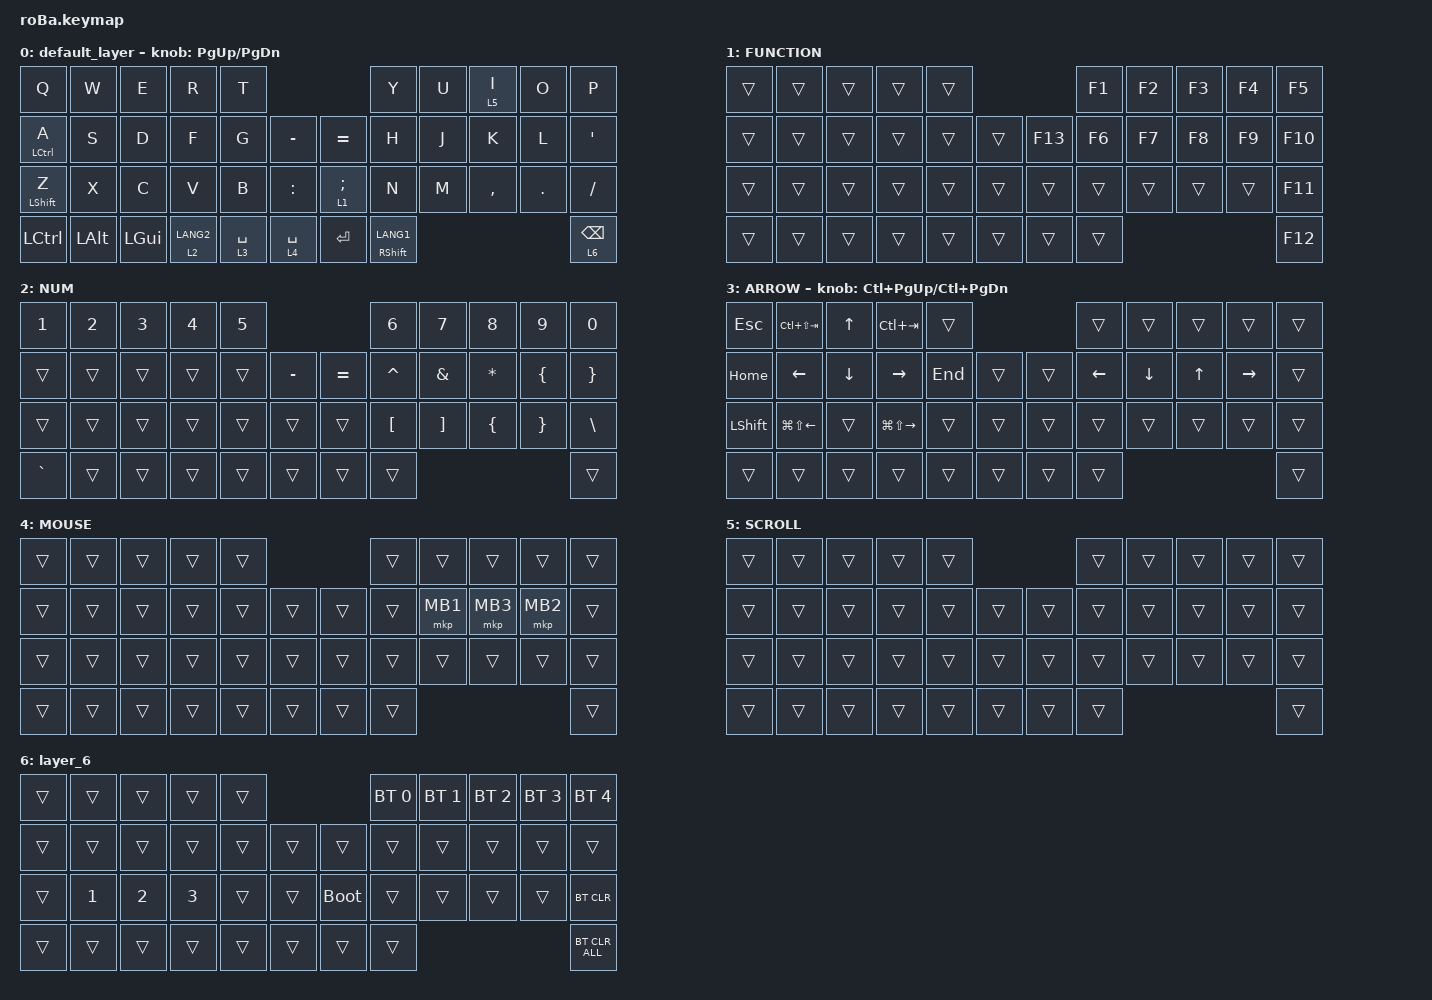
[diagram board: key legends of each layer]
#include <behaviors.dtsi>
#include <dt-bindings/zmk/bt.h>
#include <dt-bindings/zmk/keys.h>
#include <dt-bindings/zmk/pointing.h>

&mt {
    flavor = "balanced";
    tapping-term-ms = <200>;
    quick-tap-ms = <175>;
    require-prior-idle-ms = <125>;
};

&trackball {
    // automouse-layer = <4>;

    scroll-layers = <5>;

    // arrows {
    //     layers = <3>;
    //     bindings =
    //         <&kp RIGHT_ARROW>,
    //         <&kp LEFT_ARROW>,
    //         <&kp UP_ARROW>,
    //         <&kp DOWN_ARROW>;
    //     tick = <10>;
    //     wait-ms = <5>;
    //     tap-ms = <5>;
    // };
};

/ {
    combos {
        compatible = "zmk,combos";

        tab {
            bindings = <&kp TAB>;
            key-positions = <11 10>;
        };

        double_quotation {
            bindings = <&kp DOUBLE_QUOTES>;
            key-positions = <20 21>;
        };

        eesscc {
            bindings = <&kp ESC>;
            key-positions = <1 0>;
        };

        backspase {
            bindings = <&kp BACKSPACE>;
            key-positions = <8 9>;
        };

        CmdTab {
            bindings = <&kp LG(TAB)>;
            key-positions = <11 12>;
        };
    };

    macros {
        to_layer_0: to_layer_0 {
            compatible = "zmk,behavior-macro-one-param";
            #binding-cells = <1>;
            bindings = <&to 0 &macro_param_1to1 &kp MACRO_PLACEHOLDER>;
            label = "TO_LAYER_0";
        };
    };

    behaviors {
        lt_to_layer_0: lt_to_layer_0 {
            compatible = "zmk,behavior-hold-tap";
            label = "LAYER_TAP_TO_0";
            bindings = <&mo>, <&to_layer_0>;

            #binding-cells = <2>;
            tapping-term-ms = <200>;
        };
    };

    keymap {
        compatible = "zmk,keymap";

        default_layer {
            bindings = <
&kp Q               &kp W         &kp E         &kp R                   &kp T                                          &kp Y             &kp U  &lt 5 I    &kp O    &kp P
&mt LEFT_CONTROL A  &kp S         &kp D         &kp F                   &kp G        &kp MINUS        &kp EQUAL        &kp H             &kp J  &kp K      &kp L    &kp SQT
&mt LEFT_SHIFT Z    &kp X         &kp C         &kp V                   &kp B        &kp COLON        &lt 1 SEMICOLON  &kp N             &kp M  &kp COMMA  &kp DOT  &kp SLASH
&kp LCTRL           &kp LEFT_ALT  &kp LEFT_GUI  &lt_to_layer_0 2 LANG2  &lt 3 SPACE  &lt 4 SPACE      &kp ENTER        &mt RSHIFT LANG1                             &lt_to_layer_0 6 BACKSPACE
            >;

            sensor-bindings = <&inc_dec_kp PG_UP PAGE_DOWN>;
        };

        FUNCTION {
            bindings = <
&trans  &trans  &trans  &trans  &trans                       &kp F1  &kp F2  &kp F3  &kp F4  &kp F5
&trans  &trans  &trans  &trans  &trans  &trans      &kp F13  &kp F6  &kp F7  &kp F8  &kp F9  &kp F10
&trans  &trans  &trans  &trans  &trans  &trans      &trans   &trans  &trans  &trans  &trans  &kp F11
&trans  &trans  &trans  &trans  &trans  &trans      &trans   &trans                          &kp F12
            >;
        };

        NUM {
            bindings = <
&kp N1     &kp N2  &kp N3  &kp N4  &kp N5                            &kp N6     &kp N7    &kp N8     &kp N9          &kp N0
&trans     &trans  &trans  &trans  &trans  &kp MINUS      &kp EQUAL  &kp CARET  &kp AMPS  &kp ASTRK  &kp LEFT_BRACE  &kp RIGHT_BRACE
&trans     &trans  &trans  &trans  &trans  &trans         &trans     &kp LBKT   &kp RBKT  &kp LBRC   &kp RBRC        &kp BACKSLASH
&kp GRAVE  &trans  &trans  &trans  &trans  &trans         &trans     &trans                                          &trans
            >;
        };

        ARROW {
            bindings = <
&kp ESCAPE      &kp LC(LS(TAB))         &kp UP_ARROW    &kp LC(TAB)              &trans                       &trans          &trans          &trans        &trans           &trans
&kp HOME        &kp LEFT_ARROW          &kp DOWN_ARROW  &kp RIGHT_ARROW          &kp END  &trans      &trans  &kp LEFT_ARROW  &kp DOWN_ARROW  &kp UP_ARROW  &kp RIGHT_ARROW  &trans
&kp LEFT_SHIFT  &kp LG(LS(LEFT_ARROW))  &trans          &kp LG(LS(RIGHT_ARROW))  &trans   &trans      &trans  &trans          &trans          &trans        &trans           &trans
&trans          &trans                  &trans          &trans                   &trans   &trans      &trans  &trans                                                         &trans
            >;

            sensor-bindings = <&inc_dec_kp LC(PAGE_UP) LC(PAGE_DOWN)>;
        };

        MOUSE {
            bindings = <
&trans  &trans  &trans  &trans  &trans                      &trans  &trans    &trans    &trans    &trans
&trans  &trans  &trans  &trans  &trans  &trans      &trans  &trans  &mkp MB1  &mkp MB3  &mkp MB2  &trans
&trans  &trans  &trans  &trans  &trans  &trans      &trans  &trans  &trans    &trans    &trans    &trans
&trans  &trans  &trans  &trans  &trans  &trans      &trans  &trans                                &trans
            >;
        };

        SCROLL {
            bindings = <
&trans  &trans  &trans  &trans  &trans                      &trans  &trans  &trans  &trans  &trans
&trans  &trans  &trans  &trans  &trans  &trans      &trans  &trans  &trans  &trans  &trans  &trans
&trans  &trans  &trans  &trans  &trans  &trans      &trans  &trans  &trans  &trans  &trans  &trans
&trans  &trans  &trans  &trans  &trans  &trans      &trans  &trans                          &trans
            >;
        };

        layer_6 {
            bindings = <
&trans  &trans        &trans        &trans        &trans                           &bt BT_SEL 0  &bt BT_SEL 1  &bt BT_SEL 2  &bt BT_SEL 3  &bt BT_SEL 4
&trans  &trans        &trans        &trans        &trans  &trans      &trans       &trans        &trans        &trans        &trans        &trans
&trans  &kp NUMBER_1  &kp NUMBER_2  &kp NUMBER_3  &trans  &trans      &bootloader  &trans        &trans        &trans        &trans        &bt BT_CLR
&trans  &trans        &trans        &trans        &trans  &trans      &trans       &trans                                                  &bt BT_CLR_ALL
            >;
        };
    };
};
